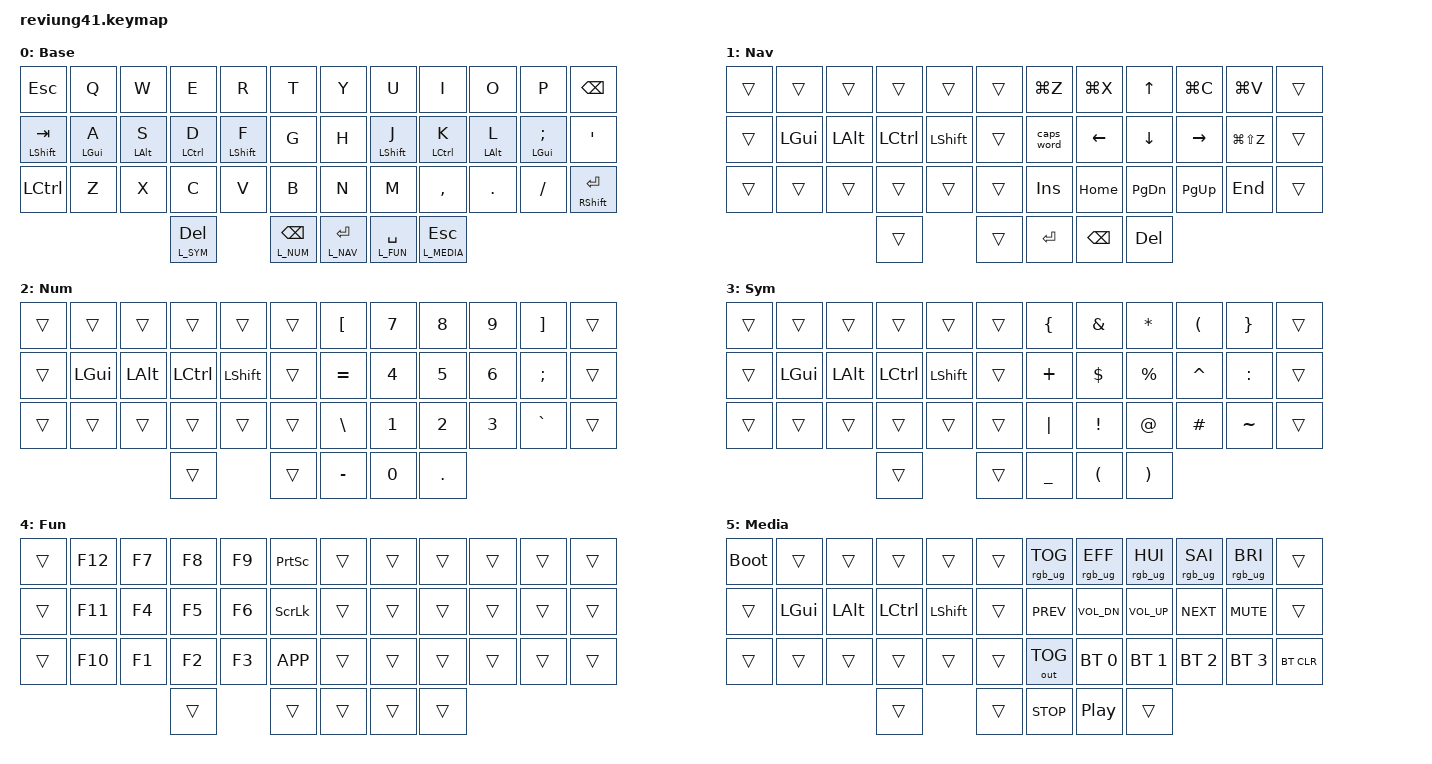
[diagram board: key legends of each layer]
/*
 * Miryoku-style keymap for the REVIUNG41 (41 keys)
 *
 * Ported from Manna Harbour's Miryoku (https://github.com/manna-harbour/miryoku)
 * with the NUM and SYM layers mirrored to the right hand (Miryoku's "flip"):
 * the numpad and the symbols both live under the right hand while the left
 * hand holds modifiers for chording.
 *
 * Physical layout, 12 / 12 / 12 / 5:
 *
 *   TAB    Q    W    E    R    T  |  Y    U    I    O    P   BSPC
 *   LCTRL  A    S    D    F    G  |  H    J    K    L    ;   '
 *   LSHFT  Z    X    C    V    B  |  N    M    ,    .    /   RSHFT
 *                    NAV  NUM  SYM  FUN  MEDIA
 *
 * Hold a thumb key for its layer, tap it for the key underneath:
 *   NAV/SPACE  NUM/BSPC  SYM/RET  FUN/DEL  MEDIA/ESC
 *
 * Layers: 0 base, 1 nav, 2 num, 3 sym, 4 fun, 5 media
 */

#include <behaviors.dtsi>
#include <dt-bindings/zmk/keys.h>
#include <dt-bindings/zmk/bt.h>
#include <dt-bindings/zmk/rgb.h>
#include <dt-bindings/zmk/outputs.h>

#define L_BASE  0
#define L_NAV   1
#define L_NUM   2
#define L_SYM   3
#define L_FUN   4
#define L_MEDIA 5

/* Miryoku clipboard helpers. Cmd-based for macOS;
   swap LG( back to LC( for Linux/Windows. */
#define U_UND &kp LG(Z)
#define U_CUT &kp LG(X)
#define U_CPY &kp LG(C)
#define U_PST &kp LG(V)
#define U_RDO &kp LG(LS(Z))

/ {
    behaviors {
        /* Miryoku home row mod: hold for the modifier, tap for the key */
        u_mt: u_mt {
            compatible = "zmk,behavior-hold-tap";
            #binding-cells = <2>;
            tapping-term-ms = <200>;
            flavor = "tap-preferred";
            bindings = <&kp>, <&kp>;
        };

        /* Miryoku thumb key: hold for the layer, tap for the key */
        u_lt: u_lt {
            compatible = "zmk,behavior-hold-tap";
            #binding-cells = <2>;
            tapping-term-ms = <200>;
            flavor = "tap-preferred";
            bindings = <&mo>, <&kp>;
        };
    };

    keymap {
        compatible = "zmk,keymap";

        base {
            display-name = "Base";
            bindings = <
    &kp ESC       &kp Q          &kp W          &kp E           &kp R          &kp T           &kp Y          &kp U            &kp I           &kp O          &kp P           &kp BSPC
    &u_mt LSHFT TAB     &u_mt LGUI A   &u_mt LALT S   &u_mt LCTRL D   &u_mt LSHFT F  &kp G           &kp H          &u_mt LSHFT J    &u_mt LCTRL K   &u_mt LALT L   &u_mt LGUI SEMI &kp SQT
    &kp LCTRL     &kp Z          &kp X          &kp C           &kp V          &kp B           &kp N          &kp M            &kp COMMA       &kp DOT        &kp FSLH        &u_mt RSHFT RET
                                                        &u_lt L_SYM DEL   &u_lt L_NUM BSPC   &u_lt L_NAV RET   &u_lt L_FUN SPACE   &u_lt L_MEDIA ESC
            >;
        };

        nav {
            display-name = "Nav";
            bindings = <
    &trans        &trans         &trans         &trans          &trans         &trans          U_UND          U_CUT            &kp UP           U_CPY          U_PST           &trans
    &trans        &kp LGUI       &kp LALT       &kp LCTRL       &kp LSHFT      &trans          &caps_word     &kp LEFT         &kp DOWN        &kp RIGHT         U_RDO       &trans
    &trans        &trans         &trans         &trans          &trans         &trans          &kp INS        &kp HOME         &kp PG_DN       &kp PG_UP      &kp END         &trans
                                                        &trans              &trans              &kp RET           &kp BSPC          &kp DEL
            >;
        };

        num {
            display-name = "Num";
            bindings = <
    &trans        &trans         &trans         &trans          &trans         &trans          &kp LBKT       &kp N7           &kp N8          &kp N9         &kp RBKT        &trans
    &trans        &kp LGUI       &kp LALT       &kp LCTRL       &kp LSHFT      &trans          &kp EQUAL      &kp N4           &kp N5          &kp N6         &kp SEMI        &trans
    &trans        &trans         &trans         &trans          &trans         &trans          &kp BSLH       &kp N1           &kp N2          &kp N3         &kp GRAVE       &trans
                                                        &trans              &trans              &kp MINUS         &kp N0            &kp DOT
            >;
        };

        sym {
            display-name = "Sym";
            bindings = <
    &trans        &trans         &trans         &trans          &trans         &trans          &kp LBRC       &kp AMPS         &kp ASTRK       &kp LPAR       &kp RBRC        &trans
    &trans        &kp LGUI       &kp LALT       &kp LCTRL       &kp LSHFT      &trans          &kp PLUS       &kp DLLR         &kp PRCNT       &kp CARET      &kp COLON       &trans
    &trans        &trans         &trans         &trans          &trans         &trans          &kp PIPE       &kp EXCL         &kp AT          &kp HASH       &kp TILDE       &trans
                                                        &trans              &trans              &kp UNDER         &kp LPAR          &kp RPAR
            >;
        };

        fun {
            display-name = "Fun";
            bindings = <
    &trans        &kp F12        &kp F7         &kp F8          &kp F9         &kp PSCRN       &trans         &trans           &trans          &trans         &trans          &trans
    &trans        &kp F11        &kp F4         &kp F5          &kp F6         &kp SLCK        &trans         &trans           &trans          &trans         &trans          &trans
    &trans        &kp F10        &kp F1         &kp F2          &kp F3         &kp K_APP       &trans         &trans           &trans          &trans         &trans          &trans
                                                        &trans              &trans              &trans            &trans            &trans
            >;
        };

        media {
            display-name = "Media";
            bindings = <
    &bootloader   &trans         &trans         &trans          &trans         &trans          &rgb_ug RGB_TOG  &rgb_ug RGB_EFF  &rgb_ug RGB_HUI &rgb_ug RGB_SAI  &rgb_ug RGB_BRI &trans
    &trans        &kp LGUI       &kp LALT       &kp LCTRL       &kp LSHFT      &trans          &kp C_PREV       &kp C_VOL_DN    &kp C_VOL_UP    &kp C_NEXT       &kp C_MUTE      &trans
    &trans        &trans         &trans         &trans          &trans         &trans          &out OUT_TOG     &bt BT_SEL 0    &bt BT_SEL 1    &bt BT_SEL 2     &bt BT_SEL 3    &bt BT_CLR
                                                        &trans              &trans              &kp C_STOP        &kp C_PP          &trans
            >;
        };
    };
};
